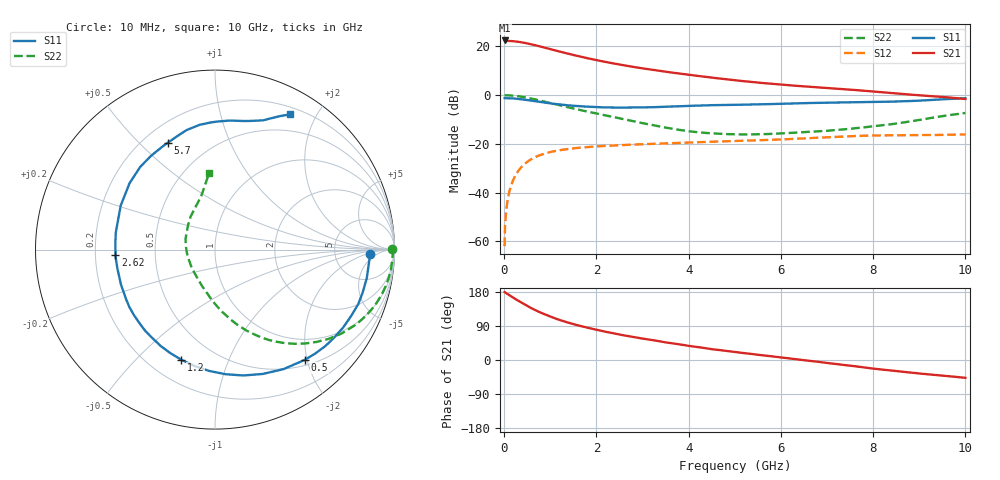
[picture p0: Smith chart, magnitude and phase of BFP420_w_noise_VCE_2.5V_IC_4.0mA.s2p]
! Infineon Technologies  Discrete & RF Semiconductors
! BFP420
! VCE =  2.5 V,  IC =  4.0 mA
! Common Emitter S-Parameters:  Jan 2016
# GHz  S  MA  R  50
!  f  S11  S21  S12  S22
! GHz  MAG  ANG  MAG  ANG  MAG  ANG  MAG  ANG
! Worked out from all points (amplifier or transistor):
!   233 points, 10 MHz to 10 GHz, reference 50 ohm
!   highest |S21| = 22.4 dB at 10 MHz (marker M1)
!   |S21| within 3 dB of that: start of sweep to 889.9 MHz
!   unconditionally stable (mu >= 1): 3.21 GHz to end of sweep
!   at 200 MHz: K = 0.06, MSG = 28.3 dB, |S12| = -34.6 dB
!   at 1.74 GHz: K = 0.53, MSG = 18.4 dB, |S12| = -21.4 dB
!   at 10 GHz: K = 1.14, MAG = 5.0 dB, |S12| = -16.1 dB
!   lowest NFmin = 0.61 dB at 900 MHz
!   S11 on the Smith chart (normalised r, x): 10 MHz: 13, -2; 500 MHz: 0.59, -1.96; 1.2 GHz: 0.33, -0.69; 2.62 GHz: 0.29, -0.03; 5.7 GHz: 0.30, +0.61; 10 GHz: 0.29, +1.66
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0.01  0.8632 -1.6  13.17 179.2  0.0008 104.5  0.988 0.1
0.02  0.8642 -2.3  12.84 178.6  0.0021 86.0  0.9909 -1.2
0.04  0.8613 -4.3  12.86 176.8  0.0039 87.5  0.9903 -2.4
0.12  0.8584 -12.6  12.87 170.5  0.0112 82.7  0.9845 -7.3
0.3  0.8355 -31.3  12.39 156.8  0.0273 73.6  0.9492 -18.0
0.4  0.8166 -41.2  11.96 149.6  0.0354 68.4  0.9186 -23.5
0.5  0.7922 -50.9  11.47 142.7  0.0428 63.6  0.8831 -28.8
0.6  0.7675 -60.2  10.94 136.1  0.0493 59.2  0.8448 -33.7
0.8  0.7189 -77.3  9.811 124.6  0.0599 51.5  0.7646 -42.3
1  0.6765 -92.9  8.762 114.5  0.068 45.2  0.6882 -49.7
1.2  0.6421 -106.9  7.816 105.8  0.0741 40.1  0.6191 -56.1
1.42  0.6134 -120.6  6.927 97.5  0.0794 35.5  0.5531 -62.2
1.68  0.5882 -135.1  6.066 88.9  0.0842 31.2  0.4861 -68.5
2.16  0.5597 -157.7  4.858 75.6  0.0907 25.2  0.3886 -78.5
2.62  0.5553 -176.8  4.041 64.5  0.0954 20.8  0.3145 -88.2
3.4  0.5728 157.9  3.106 48.8  0.1016 15.5  0.2247 -106.3
4.1  0.605 140.1  2.539 35.7  0.1074 11.7  0.1771 -127.9
5.1  0.6342 122.7  1.968 19.7  0.1153 6.9  0.1564 -160.4
5.7  0.6512 113.8  1.736 11.1  0.1203 4.4  0.1589 -178.8
6.8  0.6931 99.5  1.438 -4.7  0.1334 -0.9  0.1804 152.7
8.4  0.7338 77.5  1.1 -28.0  0.1498 -13.6  0.2534 116.6
10  0.8609 61.0  0.831 -47.1  0.1559 -22.5  0.4297 94.3
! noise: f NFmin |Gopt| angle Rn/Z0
0.9  0.61  0.27  32  0.16
1.8  1.03  0.14  83  0.13
2.4  1.11  0.17  110  0.14
3  1.23  0.2  153  0.11
4  1.42  0.31  -151  0.11
5  1.77  0.38  -123  0.23
6  2.35  0.47  -104  0.33
